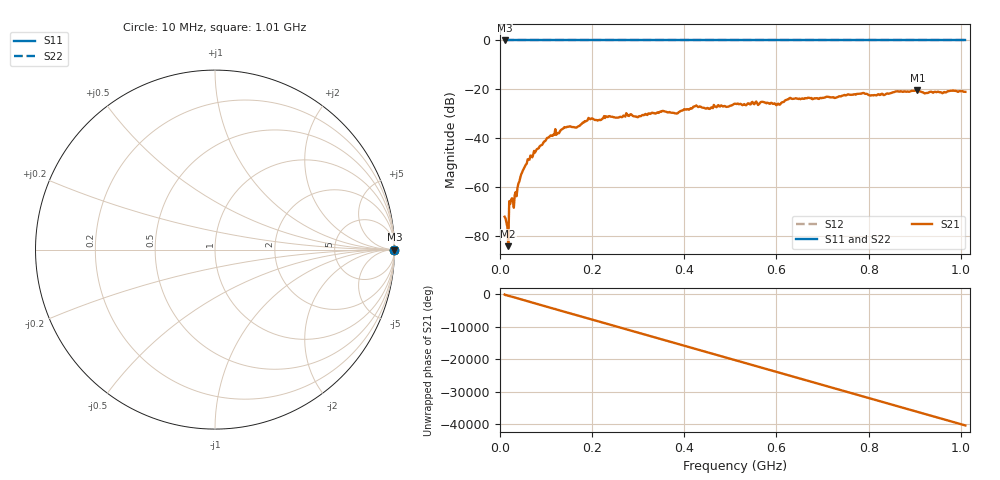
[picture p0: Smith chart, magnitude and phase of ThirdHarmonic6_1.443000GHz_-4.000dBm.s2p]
! 8/16/2025 4:41:30 PM
! C:\ANRITSUVNA\TEMP\TEMP.S2P
! CHANNEL.1
! TR.MEASUREMENT
! RAW.DATA
! RF.CORRECTION.OFF
! AVERAGING.OFF
! IF.BANDWIDTH: 5KHZ
! SWEEPTYPE:  FREQ.SWEEP(Linear)
! Reference Plane Port Info
! PORT:  PORT1  PORT2
! DISTANCE:  0  m  0  m
! TIME:  0  s  0  s
! PHASE.OFFSET:  0  deg.  0  deg.
! LOSS:  0  dB  0  dB
! REF.LOSS:  0  dB  0  dB
! REF.FREQ:  0  Hz  0  Hz
! Power Info
! POWER:  -20  dBm  -20  dBm
! EFF.POWER:  -20  dBm  -20  dBm
! SOURCE.ATTEN:  0  dB  0  dB
! TEST.ATTEN:  0  dB  0  dB
# GHZ S RI R 50.0
! FREQ.GHZ  S11RE  S11IM  S21RE  S21IM  S12RE  S12IM  S22RE  S22IM
!; PortSelection: Port_12
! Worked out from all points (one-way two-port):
!   501 points, 10 MHz to 1.01 GHz, reference 50 ohm
!   highest |S21| = -20.47 dB at 906 MHz (marker M1); lowest = -84.1 dB at 18 MHz (marker M2)
!   lowest |S11| = 0.0 dB at 10 MHz (marker M3)
!   |S11| at or under -10 dB: nowhere
!   |S22| runs from 0.0 to 0.0 dB; largest |S21 - S12| = 1.1
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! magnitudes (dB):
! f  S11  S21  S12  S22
! 10 MHz  0.0  -72.1  0.0  0.0
! 14 MHz  0.0  -74.5  0.0  0.0
! 18 MHz  0.0  -84.1  0.0  0.0
! 24 MHz  0.0  -65.1  0.0  0.0
! 32 MHz  0.0  -63.2  0.0  0.0
! 48 MHz  0.0  -54.0  0.0  0.0
! 64 MHz  0.0  -48.8  0.0  0.0
! 106 MHz  0.0  -39.5  0.0  0.0
! 142 MHz  0.0  -35.5  0.0  0.0
! 178 MHz  0.0  -34.0  0.0  0.0
! 196 MHz  0.0  -32.2  0.0  0.0
! 344 MHz  0.0  -29.6  0.0  0.0
! 382 MHz  0.0  -29.8  0.0  0.0
! 424 MHz  0.0  -26.9  0.0  0.0
! 452 MHz  0.0  -27.7  0.0  0.0
! 510 MHz  0.0  -25.9  0.0  0.0
! 604 MHz  0.0  -25.9  0.0  0.0
! 628 MHz  0.0  -23.6  0.0  0.0
! 678 MHz  0.0  -24.0  0.0  0.0
! 844 MHz  0.0  -21.8  0.0  0.0
! 906 MHz  0.0  -20.5  0.0  0.0
! 1.01 GHz  0.0  -21.0  0.0  0.0
